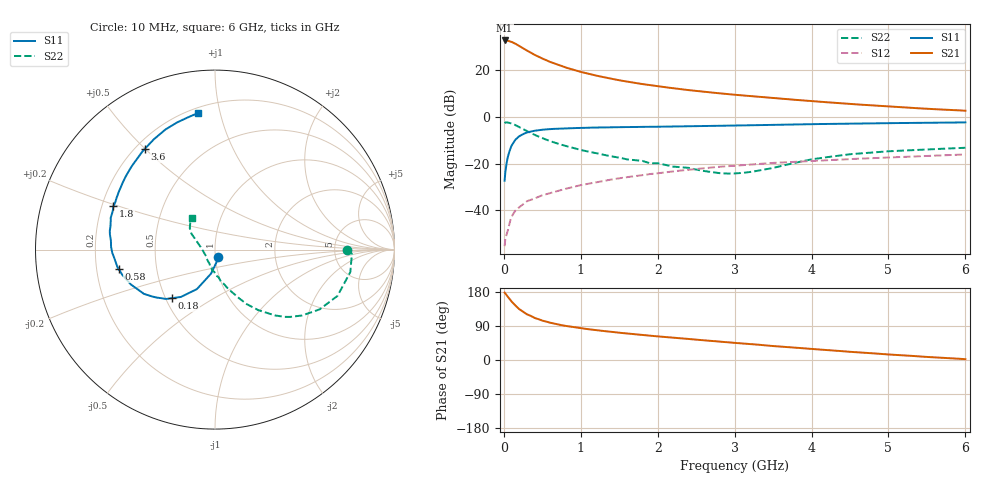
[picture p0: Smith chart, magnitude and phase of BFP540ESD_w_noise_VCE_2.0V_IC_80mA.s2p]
! Infineon Technologies  Discrete & RF Semiconductors
! BFP540ESD
! VCE =  2.0 V,  IC =  80 mA
! Common Emitter S-Parameters:  Nov 2015
# GHz  S  MA  R  50
!  f  S11  S21  S12  S22
! GHz  MAG  ANG  MAG  ANG  MAG  ANG  MAG  ANG
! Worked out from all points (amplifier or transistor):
!   210 points, 10 MHz to 6 GHz, reference 50 ohm
!   highest |S21| = 32.8 dB at 10 MHz (marker M1)
!   |S21| within 3 dB of that: start of sweep to 232.9 MHz
!   unconditionally stable (mu >= 1): start of sweep to 69.17 MHz; 764.4 MHz to end of sweep
!   at 185 MHz: K = 0.65, MSG = 34.9 dB, |S12| = -39.1 dB
!   at 1.52 GHz: K = 1.15, MAG = 18.5 dB, |S12| = -26.2 dB
!   at 6 GHz: K = 1.18, MAG = 6.8 dB, |S12| = -16.1 dB
!   lowest NFmin = 2.38 dB at 900 MHz
!   S11 on the Smith chart (normalised r, x): 10 MHz: 1.03, -0.08; 180 MHz: 0.54, -0.34; 580 MHz: 0.29, -0.09; 1.8 GHz: 0.25, +0.19; 3.6 GHz: 0.24, +0.50; 6 GHz: 0.23, +0.85
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0.01  0.0431 -64.9  43.78 177.8  0.0017 103.6  0.7342 0.0
0.05  0.1358 -99.4  43.42 167.2  0.0036 87.6  0.7643 -9.4
0.1  0.2421 -114.6  40.88 154.5  0.0072 72.3  0.7297 -20.7
0.15  0.3251 -125.8  37.3 143.5  0.0098 68.1  0.6716 -29.7
0.18  0.3612 -131.5  34.88 138.2  0.0109 67.3  0.6319 -34.0
0.2  0.3869 -134.7  33.45 134.3  0.0116 66.8  0.6076 -37.2
0.26  0.4376 -143.4  29.14 125.7  0.0138 62.9  0.5396 -44.0
0.3  0.4665 -148.1  26.63 120.6  0.0156 62.6  0.497 -47.6
0.34  0.4813 -152.0  24.52 117.2  0.0165 62.0  0.463 -50.1
0.4  0.5075 -157.5  21.56 111.0  0.0179 61.3  0.414 -54.5
0.5  0.5344 -164.5  17.95 103.9  0.021 62.2  0.3505 -59.9
0.58  0.5482 -168.7  15.75 99.7  0.0228 62.4  0.3137 -62.7
0.78  0.5702 -177.6  11.89 90.9  0.0282 62.9  0.2454 -69.6
1.02  0.5837 174.5  9.107 83.4  0.0351 62.8  0.1931 -76.3
1.4  0.6015 164.9  6.598 74.2  0.0458 62.5  0.1431 -88.4
1.8  0.6165 156.8  5.088 66.1  0.0563 60.1  0.1147 -98.9
2.02  0.6195 152.3  4.516 62.0  0.0627 58.4  0.1005 -104.7
3.1  0.6605 133.1  2.905 43.7  0.0927 49.4  0.0633 -163.8
3.6  0.6842 124.8  2.472 35.4  0.1057 44.4  0.0887 165.1
4.1  0.7062 117.6  2.131 27.7  0.1163 39.5  0.1305 150.7
5.1  0.7411 105.7  1.646 13.4  0.1378 30.3  0.1875 138.3
6  0.7663 97.2  1.366 2.2  0.1572 23.2  0.2188 125.6
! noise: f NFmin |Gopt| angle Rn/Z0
0.9  2.38  0.59  -140  0.21
1.8  2.6  0.62  -141  0.22
2.4  2.71  0.63  -130  0.32
3  2.93  0.66  -121  0.48
4  3.08  0.73  -101  0.98
5  3.38  0.79  -86  1.55
6  4.1  0.72  -81  2.55
